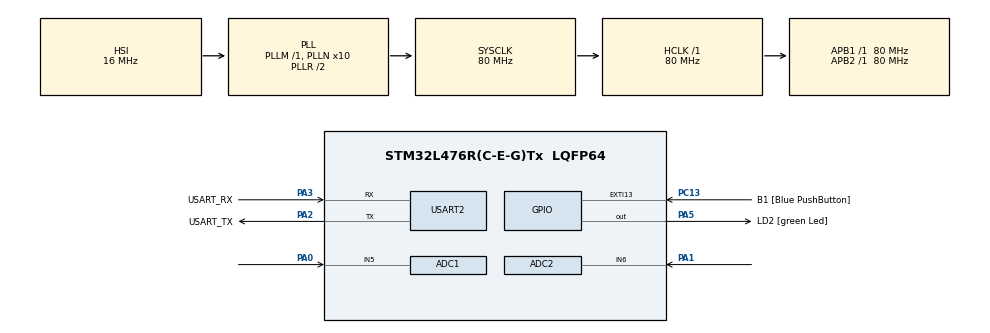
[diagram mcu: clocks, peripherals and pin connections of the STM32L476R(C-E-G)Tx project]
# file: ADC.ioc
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ADC1.Channel-2\#ChannelRegularConversion=ADC_CHANNEL_5
ADC1.ClockPrescaler=ADC_CLOCK_ASYNC_DIV64
ADC1.ContinuousConvMode=ENABLE
ADC1.NbrOfConversionFlag=1
ADC1.OffsetNumber-2\#ChannelRegularConversion=ADC_OFFSET_NONE
ADC1.Rank-2\#ChannelRegularConversion=1
ADC1.Resolution=ADC_RESOLUTION_12B
ADC1.SamplingTime-2\#ChannelRegularConversion=ADC_SAMPLETIME_2CYCLES_5
ADC1.master=1
ADC2.Channel-0\#ChannelRegularConversion=ADC_CHANNEL_6
ADC2.ClockPrescaler=ADC_CLOCK_ASYNC_DIV64
ADC2.ContinuousConvMode=ENABLE
ADC2.NbrOfConversionFlag=1
ADC2.OffsetNumber-0\#ChannelRegularConversion=ADC_OFFSET_NONE
ADC2.Rank-0\#ChannelRegularConversion=1
ADC2.Resolution=ADC_RESOLUTION_12B
ADC2.SamplingTime-0\#ChannelRegularConversion=ADC_SAMPLETIME_2CYCLES_5
Mcu.Family=STM32L4
Mcu.Name=STM32L476R(C-E-G)Tx
Mcu.Package=LQFP64
NVIC.ADC1_2_IRQn=true\:0\:0\:false\:false\:true\:true\:true\:true
NVIC.EXTI15_10_IRQn=true\:0\:0\:false\:false\:true\:true\:true\:true
NVIC.PriorityGroup=NVIC_PRIORITYGROUP_4
NVIC.TIM6_DAC_IRQn=true\:0\:0\:false\:false\:true\:true\:true\:true
NVIC.USART2_IRQn=true\:0\:0\:false\:false\:true\:true\:true\:true
PA0.Signal=ADCx_IN5
PA1.Signal=ADCx_IN6
PA13\ (JTMS-SWDIO).GPIO_Label=TMS
PA13\ (JTMS-SWDIO).Mode=Serial_Wire
PA13\ (JTMS-SWDIO).Signal=SYS_JTMS-SWDIO
PA14\ (JTCK-SWCLK).GPIO_Label=TCK
PA14\ (JTCK-SWCLK).Mode=Serial_Wire
PA14\ (JTCK-SWCLK).Signal=SYS_JTCK-SWCLK
PA2.GPIO_Label=USART_TX
PA2.GPIO_Mode=GPIO_MODE_AF_PP
PA2.GPIO_PuPd=GPIO_NOPULL
PA2.GPIO_Speed=GPIO_SPEED_FREQ_VERY_HIGH
PA2.Mode=Asynchronous
PA2.Signal=USART2_TX
PA3.GPIO_Label=USART_RX
PA3.GPIO_Mode=GPIO_MODE_AF_PP
PA3.GPIO_PuPd=GPIO_NOPULL
PA3.GPIO_Speed=GPIO_SPEED_FREQ_VERY_HIGH
PA3.Mode=Asynchronous
PA3.Signal=USART2_RX
PA5.GPIO_Label=LD2 [green Led]
PA5.GPIO_ModeDefaultOutputPP=GPIO_MODE_OUTPUT_PP
PA5.GPIO_PuPd=GPIO_NOPULL
PA5.GPIO_Speed=GPIO_SPEED_FREQ_LOW
PA5.Signal=GPIO_Output
PB3\ (JTDO-TRACESWO).GPIO_Label=SWO
PB3\ (JTDO-TRACESWO).Signal=SYS_JTDO-SWO
PC13.GPIO_Label=B1 [Blue PushButton]
PC13.GPIO_ModeDefaultEXTI=GPIO_MODE_IT_FALLING
PC13.GPIO_PuPd=GPIO_NOPULL
PC13.Signal=GPXTI13
PC14-OSC32_IN\ (PC14).Mode=LSE-External-Oscillator
PC14-OSC32_IN\ (PC14).Signal=RCC_OSC32_IN
PC15-OSC32_OUT\ (PC15).Mode=LSE-External-Oscillator
PC15-OSC32_OUT\ (PC15).Signal=RCC_OSC32_OUT
PH0-OSC_IN\ (PH0).Signal=RCC_OSC_IN
PH1-OSC_OUT\ (PH1).Signal=RCC_OSC_OUT
ProjectManager.HeapSize=0x200
ProjectManager.StackSize=0x400
ProjectManager.TargetToolchain=STM32CubeIDE
RCC.ADCFreq_Value=64000000
RCC.AHBFreq_Value=80000000
RCC.APB1Freq_Value=80000000
RCC.APB1TimFreq_Value=80000000
RCC.APB2Freq_Value=80000000
RCC.APB2TimFreq_Value=80000000
RCC.CortexFreq_Value=80000000
RCC.HCLKFreq_Value=80000000
RCC.HSE_VALUE=8000000
RCC.HSI_VALUE=16000000
RCC.MSI_VALUE=4000000
RCC.PLLN=10
RCC.PLLSourceVirtual=RCC_PLLSOURCE_HSI
RCC.PREFETCH_ENABLE=1
RCC.SYSCLKFreq_VALUE=80000000
RCC.SYSCLKSource=RCC_SYSCLKSOURCE_PLLCLK
RCC.USBFreq_Value=64000000
RCC.VCOOutputFreq_Value=160000000
SH.ADCx_IN5.0=ADC1_IN5,IN5-Single-Ended
SH.ADCx_IN6.0=ADC1_IN6
SH.ADCx_IN6.1=ADC2_IN6,IN6-Single-Ended
TIM6.Period=10
TIM6.Prescaler=7999
USART2.VirtualMode-Asynchronous=VM_ASYNC
VP_TIM6_VS_ClockSourceINT.Mode=Enable_Timer
board=NUCLEO-L476RG

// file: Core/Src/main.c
/* USER CODE BEGIN Header */
/**
  ******************************************************************************
  * @file           : main.c
  * @brief          : Main program body
  ******************************************************************************
  * @attention
  *
  * Copyright (c) 2022 STMicroelectronics.
  * All rights reserved.
  *
  * This software is licensed under terms that can be found in the LICENSE file
  * in the root directory of this software component.
  * If no LICENSE file comes with this software, it is provided AS-IS.
  *
  ******************************************************************************
  */
/* USER CODE END Header */
#include "main.h"

/* USER CODE BEGIN Includes */
#include <stdio.h>
/* USER CODE END Includes */

 ADC_HandleTypeDef hadc1;
ADC_HandleTypeDef hadc2;

TIM_HandleTypeDef htim6;

UART_HandleTypeDef huart2;

void SystemClock_Config(void);
void PeriphCommonClock_Config(void);
static void MX_GPIO_Init(void);
static void MX_USART2_UART_Init(void);
static void MX_ADC1_Init(void);
static void MX_TIM6_Init(void);
static void MX_ADC2_Init(void);

/* USER CODE BEGIN 0 */
int _write(int fd, char* ptr, int len)
{
	HAL_UART_Transmit(&huart2, (uint8_t*)ptr, len, HAL_MAX_DELAY);
	return len;
}

uint32_t potentiometer = 0;
uint32_t lightSensor  = 0;

int cnt = 0;

void HAL_TIM_PeriodElapsedCallback(TIM_HandleTypeDef * htim)
{
	cnt++;
	if(cnt >= 1000){
		cnt = 0;
		printf("potentiometer = %lu\r\n",potentiometer);
		printf("light sensor = %lu\r\n\r\n",lightSensor);
	}
}

void HAL_ADC_ConvCpltCallback(ADC_HandleTypeDef* hadc)
{
	if(hadc == &hadc1){
		if(HAL_ADC_PollForConversion(&hadc1, HAL_MAX_DELAY) == HAL_OK ){
			potentiometer = HAL_ADC_GetValue(&hadc1);
		}
	}
	if(hadc == &hadc2){
		if(HAL_ADC_PollForConversion(&hadc2, HAL_MAX_DELAY) == HAL_OK ){
			lightSensor = HAL_ADC_GetValue(&hadc2);
		}
	}
}

/* USER CODE END 0 */

int main(void)
{

  /* MCU Configuration--------------------------------------------------------*/

  /* Reset of all peripherals, Initializes the Flash interface and the Systick. */
  HAL_Init();

  /* Configure the system clock */
  SystemClock_Config();

/* Configure the peripherals common clocks */
  PeriphCommonClock_Config();

  /* Initialize all configured peripherals */
  MX_GPIO_Init();
  MX_USART2_UART_Init();
  MX_ADC1_Init();
  MX_TIM6_Init();
  MX_ADC2_Init();
  /* USER CODE BEGIN 2 */
  __HAL_TIM_SET_COUNTER(&htim6, 0);
  HAL_TIM_Base_Start_IT(&htim6);

  HAL_NVIC_EnableIRQ(ADC1_2_IRQn);

  HAL_ADC_Start_IT(&hadc1);
  HAL_ADC_Start_IT(&hadc2);

  /* USER CODE END 2 */

  /* Infinite loop */
  while (1)
  {

  }
}

void SystemClock_Config(void)
{
  RCC_OscInitTypeDef RCC_OscInitStruct = {0};
  RCC_ClkInitTypeDef RCC_ClkInitStruct = {0};

  /** Configure the main internal regulator output voltage
  */
  if (HAL_PWREx_ControlVoltageScaling(PWR_REGULATOR_VOLTAGE_SCALE1) != HAL_OK)
  {
    Error_Handler();
  }

  /** Initializes the RCC Oscillators according to the specified parameters
  * in the RCC_OscInitTypeDef structure.
  */
  RCC_OscInitStruct.OscillatorType = RCC_OSCILLATORTYPE_HSI;
  RCC_OscInitStruct.HSIState = RCC_HSI_ON;
  RCC_OscInitStruct.HSICalibrationValue = RCC_HSICALIBRATION_DEFAULT;
  RCC_OscInitStruct.PLL.PLLState = RCC_PLL_ON;
  RCC_OscInitStruct.PLL.PLLSource = RCC_PLLSOURCE_HSI;
  RCC_OscInitStruct.PLL.PLLM = 1;
  RCC_OscInitStruct.PLL.PLLN = 10;
  RCC_OscInitStruct.PLL.PLLP = RCC_PLLP_DIV7;
  RCC_OscInitStruct.PLL.PLLQ = RCC_PLLQ_DIV2;
  RCC_OscInitStruct.PLL.PLLR = RCC_PLLR_DIV2;
  if (HAL_RCC_OscConfig(&RCC_OscInitStruct) != HAL_OK)
  {
    Error_Handler();
  }

  /** Initializes the CPU, AHB and APB buses clocks
  */
  RCC_ClkInitStruct.ClockType = RCC_CLOCKTYPE_HCLK|RCC_CLOCKTYPE_SYSCLK
                              |RCC_CLOCKTYPE_PCLK1|RCC_CLOCKTYPE_PCLK2;
  RCC_ClkInitStruct.SYSCLKSource = RCC_SYSCLKSOURCE_PLLCLK;
  RCC_ClkInitStruct.AHBCLKDivider = RCC_SYSCLK_DIV1;
  RCC_ClkInitStruct.APB1CLKDivider = RCC_HCLK_DIV1;
  RCC_ClkInitStruct.APB2CLKDivider = RCC_HCLK_DIV1;

  if (HAL_RCC_ClockConfig(&RCC_ClkInitStruct, FLASH_LATENCY_4) != HAL_OK)
  {
    Error_Handler();
  }
}

void PeriphCommonClock_Config(void)
{
  RCC_PeriphCLKInitTypeDef PeriphClkInit = {0};

  /** Initializes the peripherals clock
  */
  PeriphClkInit.PeriphClockSelection = RCC_PERIPHCLK_ADC;
  PeriphClkInit.AdcClockSelection = RCC_ADCCLKSOURCE_PLLSAI1;
  PeriphClkInit.PLLSAI1.PLLSAI1Source = RCC_PLLSOURCE_HSI;
  PeriphClkInit.PLLSAI1.PLLSAI1M = 1;
  PeriphClkInit.PLLSAI1.PLLSAI1N = 8;
  PeriphClkInit.PLLSAI1.PLLSAI1P = RCC_PLLP_DIV7;
  PeriphClkInit.PLLSAI1.PLLSAI1Q = RCC_PLLQ_DIV2;
  PeriphClkInit.PLLSAI1.PLLSAI1R = RCC_PLLR_DIV2;
  PeriphClkInit.PLLSAI1.PLLSAI1ClockOut = RCC_PLLSAI1_ADC1CLK;
  if (HAL_RCCEx_PeriphCLKConfig(&PeriphClkInit) != HAL_OK)
  {
    Error_Handler();
  }
}

static void MX_ADC1_Init(void)
{

  ADC_MultiModeTypeDef multimode = {0};
  ADC_ChannelConfTypeDef sConfig = {0};

  /** Common config
  */
  hadc1.Instance = ADC1;
  hadc1.Init.ClockPrescaler = ADC_CLOCK_ASYNC_DIV64;
  hadc1.Init.Resolution = ADC_RESOLUTION_12B;
  hadc1.Init.DataAlign = ADC_DATAALIGN_RIGHT;
  hadc1.Init.ScanConvMode = ADC_SCAN_DISABLE;
  hadc1.Init.EOCSelection = ADC_EOC_SINGLE_CONV;
  hadc1.Init.LowPowerAutoWait = DISABLE;
  hadc1.Init.ContinuousConvMode = ENABLE;
  hadc1.Init.NbrOfConversion = 1;
  hadc1.Init.DiscontinuousConvMode = DISABLE;
  hadc1.Init.ExternalTrigConv = ADC_SOFTWARE_START;
  hadc1.Init.ExternalTrigConvEdge = ADC_EXTERNALTRIGCONVEDGE_NONE;
  hadc1.Init.DMAContinuousRequests = DISABLE;
  hadc1.Init.Overrun = ADC_OVR_DATA_PRESERVED;
  hadc1.Init.OversamplingMode = DISABLE;
  if (HAL_ADC_Init(&hadc1) != HAL_OK)
  {
    Error_Handler();
  }

  /** Configure the ADC multi-mode
  */
  multimode.Mode = ADC_MODE_INDEPENDENT;
  if (HAL_ADCEx_MultiModeConfigChannel(&hadc1, &multimode) != HAL_OK)
  {
    Error_Handler();
  }

  /** Configure Regular Channel
  */
  sConfig.Channel = ADC_CHANNEL_5;
  sConfig.Rank = ADC_REGULAR_RANK_1;
  sConfig.SamplingTime = ADC_SAMPLETIME_2CYCLES_5;
  sConfig.SingleDiff = ADC_SINGLE_ENDED;
  sConfig.OffsetNumber = ADC_OFFSET_NONE;
  sConfig.Offset = 0;
  if (HAL_ADC_ConfigChannel(&hadc1, &sConfig) != HAL_OK)
  {
    Error_Handler();
  }

}

static void MX_ADC2_Init(void)
{

  ADC_ChannelConfTypeDef sConfig = {0};

  /** Common config
  */
  hadc2.Instance = ADC2;
  hadc2.Init.ClockPrescaler = ADC_CLOCK_ASYNC_DIV64;
  hadc2.Init.Resolution = ADC_RESOLUTION_12B;
  hadc2.Init.DataAlign = ADC_DATAALIGN_RIGHT;
  hadc2.Init.ScanConvMode = ADC_SCAN_DISABLE;
  hadc2.Init.EOCSelection = ADC_EOC_SINGLE_CONV;
  hadc2.Init.LowPowerAutoWait = DISABLE;
  hadc2.Init.ContinuousConvMode = ENABLE;
  hadc2.Init.NbrOfConversion = 1;
  hadc2.Init.DiscontinuousConvMode = DISABLE;
  hadc2.Init.ExternalTrigConv = ADC_SOFTWARE_START;
  hadc2.Init.ExternalTrigConvEdge = ADC_EXTERNALTRIGCONVEDGE_NONE;
  hadc2.Init.DMAContinuousRequests = DISABLE;
  hadc2.Init.Overrun = ADC_OVR_DATA_PRESERVED;
  hadc2.Init.OversamplingMode = DISABLE;
  if (HAL_ADC_Init(&hadc2) != HAL_OK)
  {
    Error_Handler();
  }

  /** Configure Regular Channel
  */
  sConfig.Channel = ADC_CHANNEL_6;
  sConfig.Rank = ADC_REGULAR_RANK_1;
  sConfig.SamplingTime = ADC_SAMPLETIME_2CYCLES_5;
  sConfig.SingleDiff = ADC_SINGLE_ENDED;
  sConfig.OffsetNumber = ADC_OFFSET_NONE;
  sConfig.Offset = 0;
  if (HAL_ADC_ConfigChannel(&hadc2, &sConfig) != HAL_OK)
  {
    Error_Handler();
  }

}

static void MX_TIM6_Init(void)
{

  TIM_MasterConfigTypeDef sMasterConfig = {0};

  htim6.Instance = TIM6;
  htim6.Init.Prescaler = 7999;
  htim6.Init.CounterMode = TIM_COUNTERMODE_UP;
  htim6.Init.Period = 10;
  htim6.Init.AutoReloadPreload = TIM_AUTORELOAD_PRELOAD_DISABLE;
  if (HAL_TIM_Base_Init(&htim6) != HAL_OK)
  {
    Error_Handler();
  }
  sMasterConfig.MasterOutputTrigger = TIM_TRGO_RESET;
  sMasterConfig.MasterSlaveMode = TIM_MASTERSLAVEMODE_DISABLE;
  if (HAL_TIMEx_MasterConfigSynchronization(&htim6, &sMasterConfig) != HAL_OK)
  {
    Error_Handler();
  }

}

static void MX_USART2_UART_Init(void)
{

  huart2.Instance = USART2;
  huart2.Init.BaudRate = 115200;
  huart2.Init.WordLength = UART_WORDLENGTH_8B;
  huart2.Init.StopBits = UART_STOPBITS_1;
  huart2.Init.Parity = UART_PARITY_NONE;
  huart2.Init.Mode = UART_MODE_TX_RX;
  huart2.Init.HwFlowCtl = UART_HWCONTROL_NONE;
  huart2.Init.OverSampling = UART_OVERSAMPLING_16;
  huart2.Init.OneBitSampling = UART_ONE_BIT_SAMPLE_DISABLE;
  huart2.AdvancedInit.AdvFeatureInit = UART_ADVFEATURE_NO_INIT;
  if (HAL_UART_Init(&huart2) != HAL_OK)
  {
    Error_Handler();
  }

}

static void MX_GPIO_Init(void)
{
  GPIO_InitTypeDef GPIO_InitStruct = {0};

  /* GPIO Ports Clock Enable */
  __HAL_RCC_GPIOC_CLK_ENABLE();
  __HAL_RCC_GPIOH_CLK_ENABLE();
  __HAL_RCC_GPIOA_CLK_ENABLE();
  __HAL_RCC_GPIOB_CLK_ENABLE();

  /*Configure GPIO pin Output Level */
  HAL_GPIO_WritePin(LD2_GPIO_Port, LD2_Pin, GPIO_PIN_RESET);

  /*Configure GPIO pin : B1_Pin */
  GPIO_InitStruct.Pin = B1_Pin;
  GPIO_InitStruct.Mode = GPIO_MODE_IT_FALLING;
  GPIO_InitStruct.Pull = GPIO_NOPULL;
  HAL_GPIO_Init(B1_GPIO_Port, &GPIO_InitStruct);

  /*Configure GPIO pin : LD2_Pin */
  GPIO_InitStruct.Pin = LD2_Pin;
  GPIO_InitStruct.Mode = GPIO_MODE_OUTPUT_PP;
  GPIO_InitStruct.Pull = GPIO_NOPULL;
  GPIO_InitStruct.Speed = GPIO_SPEED_FREQ_LOW;
  HAL_GPIO_Init(LD2_GPIO_Port, &GPIO_InitStruct);

  /* EXTI interrupt init*/
  HAL_NVIC_SetPriority(EXTI15_10_IRQn, 0, 0);
  HAL_NVIC_EnableIRQ(EXTI15_10_IRQn);

}

void Error_Handler(void)
{
  __disable_irq();
  while (1)
  {
  }
}
